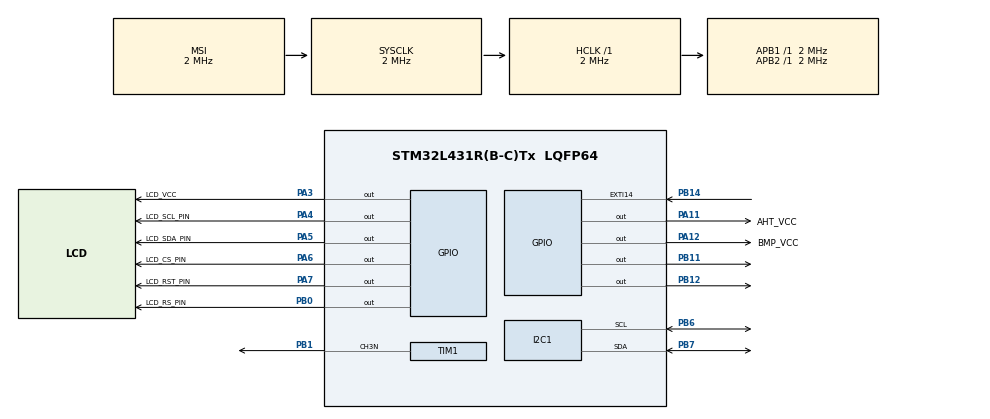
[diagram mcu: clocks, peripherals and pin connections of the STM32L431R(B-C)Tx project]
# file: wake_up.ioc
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I2C1.Timing=0x00000509
Mcu.Family=STM32L4
Mcu.Name=STM32L431R(B-C)Tx
Mcu.Package=LQFP64
NVIC.EXTI15_10_IRQn=true\:0\:0\:false\:false\:true\:true\:true\:true
NVIC.PriorityGroup=NVIC_PRIORITYGROUP_4
NVIC.RTC_WKUP_IRQn=true\:0\:0\:false\:false\:true\:true\:true\:true
PA11.GPIO_Label=AHT_VCC
PA11.PinState=GPIO_PIN_SET
PA11.Signal=GPIO_Output
PA12.GPIO_Label=BMP_VCC
PA12.PinState=GPIO_PIN_SET
PA12.Signal=GPIO_Output
PA13\ (JTMS-SWDIO).Mode=Serial_Wire
PA13\ (JTMS-SWDIO).Signal=SYS_JTMS-SWDIO
PA14\ (JTCK-SWCLK).Mode=Serial_Wire
PA14\ (JTCK-SWCLK).Signal=SYS_JTCK-SWCLK
PA3.GPIO_Label=LCD_VCC
PA3.GPIO_PuPd=GPIO_NOPULL
PA3.PinState=GPIO_PIN_SET
PA3.Signal=GPIO_Output
PA4.GPIO_Label=LCD_SCL_PIN
PA4.Signal=GPIO_Output
PA5.GPIO_Label=LCD_SDA_PIN
PA5.Signal=GPIO_Output
PA6.GPIO_Label=LCD_CS_PIN
PA6.Signal=GPIO_Output
PA7.GPIO_Label=LCD_RST_PIN
PA7.Signal=GPIO_Output
PB0.GPIO_Label=LCD_RS_PIN
PB0.Signal=GPIO_Output
PB1.Mode=PWM Generation3 CH3N
PB1.Signal=TIM1_CH3N
PB11.Signal=GPIO_Output
PB12.Signal=GPIO_Output
PB14.GPIO_ModeDefaultEXTI=GPIO_MODE_IT_FALLING
PB14.GPIO_PuPd=GPIO_PULLUP
PB14.Signal=GPXTI14
PB6.Mode=I2C
PB6.Signal=I2C1_SCL
PB7.Mode=I2C
PB7.Signal=I2C1_SDA
ProjectManager.HeapSize=0x200
ProjectManager.StackSize=0x400
ProjectManager.TargetToolchain=MDK-ARM V5.32
RCC.ADCFreq_Value=8000000
RCC.AHBFreq_Value=2000000
RCC.APB1Freq_Value=2000000
RCC.APB1TimFreq_Value=2000000
RCC.APB2Freq_Value=2000000
RCC.APB2TimFreq_Value=2000000
RCC.CortexFreq_Value=2000000
RCC.HCLKFreq_Value=2000000
RCC.HSE_VALUE=8000000
RCC.HSI48_VALUE=48000000
RCC.HSI_VALUE=16000000
RCC.LSE_VALUE=32768
RCC.MSIClockRange=RCC_MSIRANGE_5
RCC.MSI_VALUE=2000000
RCC.SYSCLKFreq_VALUE=2000000
RCC.VCOOutputFreq_Value=16000000
RTC.WakeUpClock-WakeUp=RTC_WAKEUPCLOCK_CK_SPRE_16BITS
RTC.WakeUpCounter-WakeUp=3
TIM1.Channel-PWM\ Generation3\ CH3N=TIM_CHANNEL_3
TIM1.Period=499
TIM1.Prescaler=1
VP_RTC_VS_RTC_Activate.Mode=RTC_Enabled
VP_RTC_VS_RTC_WakeUp_intern.Mode=WakeUp
VP_TIM1_VS_ClockSourceINT.Mode=Internal
board=custom

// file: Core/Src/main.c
/* USER CODE BEGIN Header */
/**
  ******************************************************************************
  * @file           : main.c
  * @brief          : Main program body
  ******************************************************************************
  * @attention
  *
  * Copyright (c) 2024 STMicroelectronics.
  * All rights reserved.
  *
  * This software is licensed under terms that can be found in the LICENSE file
  * in the root directory of this software component.
  * If no LICENSE file comes with this software, it is provided AS-IS.
  *
  ******************************************************************************
  */
/* USER CODE END Header */
#include "main.h"
#include "i2c.h"
#include "rtc.h"
#include "tim.h"
#include "gpio.h"

/* USER CODE BEGIN Includes */
#include "lcd.h"
#include "bmp280.h"
#include "stdio.h"
#include "aht10.h"

void MX_GPIO_Init1(void)
{

GPIO_InitTypeDef GPIO_InitStruct = {0};

  /* GPIO Ports Clock Enable */
  __HAL_RCC_GPIOA_CLK_ENABLE();
  __HAL_RCC_GPIOB_CLK_ENABLE();

  /*Configure GPIO pins : PA0 PA1 PA2 PA3
                           PA4 PA5 PA6 PA7
                           PA8 PA9 PA10 PA11
                           PA12 PA13 PA14 PA15 */
  GPIO_InitStruct.Pin = GPIO_PIN_3|GPIO_PIN_4|GPIO_PIN_5|GPIO_PIN_6|GPIO_PIN_7;
  GPIO_InitStruct.Mode = GPIO_MODE_ANALOG;
  GPIO_InitStruct.Pull = GPIO_NOPULL;
  HAL_GPIO_Init(GPIOA, &GPIO_InitStruct);

  /*Configure GPIO pins : PB0 PB1 PB2 PB10
                           PB11 PB12 PB13 PB14
                           PB15 PB3 PB4 PB5
                           PB6 PB7 PB8 PB9 */
  GPIO_InitStruct.Pin = GPIO_PIN_14|GPIO_PIN_0|GPIO_PIN_1;
  GPIO_InitStruct.Mode = GPIO_MODE_ANALOG;
  GPIO_InitStruct.Pull = GPIO_NOPULL;
  HAL_GPIO_Init(GPIOB, &GPIO_InitStruct);

}

/* USER CODE END Includes */

void SystemClock_Config(void);

/* USER CODE BEGIN 0 */
void enter_sleep(){
	HAL_SuspendTick();
	HAL_PWR_EnterSLEEPMode(PWR_MAINREGULATOR_ON,PWR_SLEEPENTRY_WFI);
}
void enter_stop(){
	//__HAL_RCC_AHB2_FORCE_RESET();
	//MX_GPIO_Init1();
	//sleep_mode_ON();
	//主要低功耗代码
	__HAL_RCC_PWR_CLK_ENABLE();
	__HAL_PWR_CLEAR_FLAG(PWR_FLAG_WU);
	HAL_PWR_EnterSTOPMode(PWR_MAINREGULATOR_ON,PWR_SLEEPENTRY_WFI);
	//HAL_PWR_EnterSTANDBYMode();
}
void exit_stop(){
	//退出低功耗时需全部重新初始化
	HAL_Init();
	SystemClock_Config();
	MX_GPIO_Init();
	MX_RTC_Init();
	MX_I2C1_Init();
  MX_TIM1_Init();
	HAL_GPIO_WritePin(GPIOB, GPIO_PIN_1, GPIO_PIN_RESET);
	HAL_GPIO_WritePin(LCD_VCC_GPIO_Port,LCD_VCC_Pin,GPIO_PIN_SET);
	HAL_GPIO_WritePin(BMP_VCC_GPIO_Port,BMP_VCC_Pin,GPIO_PIN_SET);
	HAL_GPIO_WritePin(AHT_VCC_GPIO_Port,AHT_VCC_Pin,GPIO_PIN_SET);
	AHT10_Init();
	bmp280Init();
	LcdInit();
	LcdClearScreen();
	LcdDispBK();
	  HAL_TIMEx_PWMN_Start(&htim1,TIM_CHANNEL_3);
	__HAL_TIM_SetCompare(&htim1, TIM_CHANNEL_3, 50);
	//sleep_mode_OFF();
}
/* USER CODE END 0 */

int main(void)
{
  /* USER CODE BEGIN 1 */
  float BP_pressure,BP_temperature,BP_asl;
	float temp = 0,hum = 0;
	char p[32];
  /* USER CODE END 1 */

  /* MCU Configuration--------------------------------------------------------*/

  /* Reset of all peripherals, Initializes the Flash interface and the Systick. */
  HAL_Init();

  /* Configure the system clock */
  SystemClock_Config();

  /* Initialize all configured peripherals */
  MX_GPIO_Init();
  MX_RTC_Init();
  MX_I2C1_Init();
  MX_TIM1_Init();
  /* USER CODE BEGIN 2 */
	//HAL_GPIO_WritePin(GPIOB, GPIO_PIN_1, GPIO_PIN_RESET);
	HAL_GPIO_WritePin(LCD_VCC_GPIO_Port,LCD_VCC_Pin,GPIO_PIN_SET);
	HAL_GPIO_WritePin(BMP_VCC_GPIO_Port,BMP_VCC_Pin,GPIO_PIN_SET);
	HAL_GPIO_WritePin(AHT_VCC_GPIO_Port,AHT_VCC_Pin,GPIO_PIN_SET);
	AHT10_Init();
	bmp280Init();
	LcdInit();
	LcdClearScreen();
	LcdDispBK();
	sleep_mode_ON();
  HAL_TIMEx_PWMN_Start(&htim1,TIM_CHANNEL_3);
	__HAL_TIM_SetCompare(&htim1, TIM_CHANNEL_3, 50);
  /* USER CODE END 2 */

  /* Infinite loop */
  while (1)
  {

    /* USER CODE BEGIN 3 */
		bmp280GetData(&BP_pressure,&BP_temperature,&BP_asl);
		sprintf(p,"%.1f",BP_temperature);
		LcdDispStr8x16(1,6,60,(unsigned char *)p);
		if(AHT10_Read_predata(&hum, &temp) == 0){
			sprintf(p,"%.1f",temp);
			lcd_dis_48_48(0,10,p);
			sprintf(p,"%.1f",hum);
			LcdDispStr8x16(1,6,6,(unsigned char *)p);
		}
		//HAL_Delay(3000);
		//sleep_mode_OFF();
		enter_stop();
		exit_stop();
  }
  /* USER CODE END 3 */
}

void SystemClock_Config(void)
{
  RCC_OscInitTypeDef RCC_OscInitStruct = {0};
  RCC_ClkInitTypeDef RCC_ClkInitStruct = {0};

  /** Configure the main internal regulator output voltage
  */
  if (HAL_PWREx_ControlVoltageScaling(PWR_REGULATOR_VOLTAGE_SCALE1) != HAL_OK)
  {
    Error_Handler();
  }

  /** Initializes the RCC Oscillators according to the specified parameters
  * in the RCC_OscInitTypeDef structure.
  */
  RCC_OscInitStruct.OscillatorType = RCC_OSCILLATORTYPE_LSI|RCC_OSCILLATORTYPE_MSI;
  RCC_OscInitStruct.LSIState = RCC_LSI_ON;
  RCC_OscInitStruct.MSIState = RCC_MSI_ON;
  RCC_OscInitStruct.MSICalibrationValue = 0;
  RCC_OscInitStruct.MSIClockRange = RCC_MSIRANGE_5;
  RCC_OscInitStruct.PLL.PLLState = RCC_PLL_NONE;
  if (HAL_RCC_OscConfig(&RCC_OscInitStruct) != HAL_OK)
  {
    Error_Handler();
  }

  /** Initializes the CPU, AHB and APB buses clocks
  */
  RCC_ClkInitStruct.ClockType = RCC_CLOCKTYPE_HCLK|RCC_CLOCKTYPE_SYSCLK
                              |RCC_CLOCKTYPE_PCLK1|RCC_CLOCKTYPE_PCLK2;
  RCC_ClkInitStruct.SYSCLKSource = RCC_SYSCLKSOURCE_MSI;
  RCC_ClkInitStruct.AHBCLKDivider = RCC_SYSCLK_DIV1;
  RCC_ClkInitStruct.APB1CLKDivider = RCC_HCLK_DIV1;
  RCC_ClkInitStruct.APB2CLKDivider = RCC_HCLK_DIV1;

  if (HAL_RCC_ClockConfig(&RCC_ClkInitStruct, FLASH_LATENCY_0) != HAL_OK)
  {
    Error_Handler();
  }
}

/* USER CODE BEGIN 4 */
void HAL_RTCEx_WakeUpTimerEventCallback(RTC_HandleTypeDef *hrtc)
{
	//HAL_PWR_EnterSTANDBYMode();
}
/* USER CODE END 4 */

void Error_Handler(void)
{
  __disable_irq();
  while (1)
  {
  }
}
